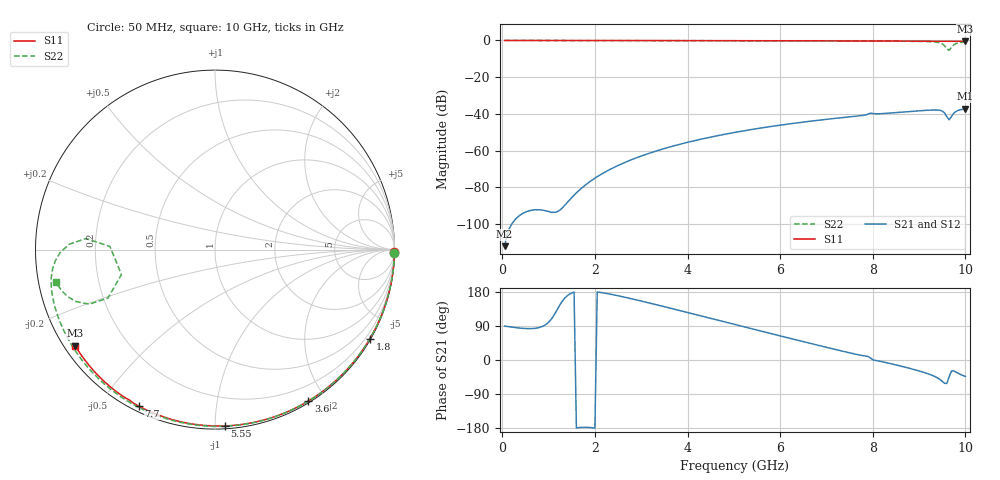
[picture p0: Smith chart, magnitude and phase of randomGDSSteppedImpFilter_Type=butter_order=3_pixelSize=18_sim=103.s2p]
! freq	dB(S11)	phase(S11)	dB(S12)	phase(S12)
!  dB(S21)	phase(S21)	dB(S22)	phase(S22)
!S-par simulation data
#  GHz  S  DB  R 50
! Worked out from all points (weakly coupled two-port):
!   200 points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, 50 MHz to 10 GHz, reference 50 ohm
!   highest |S21| = -37.21 dB at 10 GHz (marker M1); lowest = -112.0 dB at 50 MHz (marker M2)
!   lowest |S11| = -0.5 dB at 10 GHz (marker M3), VSWR 35.48, Z = 1.54 - j15.5 ohm
!   |S11| at or under -10 dB: nowhere
!   |S22| runs from -5.4 to 0.0 dB; largest |S21 - S12| = 0
!   S11 on the Smith chart (normalised r, x): 50 MHz: open; 1.8 GHz: 0.03, -3.74; 3.6 GHz: 0.02, -1.79; 5.55 GHz: 0.02, -1.06; 7.7 GHz: 0.02, -0.63; 10 GHz: 0.03, -0.31
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0.05  -0.00 -0.8  -112.03 89.4  -112.03 89.4  -0.00 -1.0
1.75  -0.04 -29.1  -79.62 -177.6  -79.62 -177.6  -0.04 -35.4
1.8  -0.04 -29.9  -78.60 -177.6  -78.60 -177.6  -0.05 -36.4
2.5  -0.05 -41.2  -68.09 169.5  -68.09 169.5  -0.06 -50.0
3.4  -0.07 -55.3  -59.61 143.7  -59.61 143.7  -0.09 -66.9
3.6  -0.08 -58.4  -58.13 137.6  -58.13 137.6  -0.09 -70.5
5.05  -0.12 -79.8  -49.94 92.8  -49.94 92.8  -0.15 -96.0
5.55  -0.14 -86.9  -47.82 77.4  -47.82 77.4  -0.17 -104.5
6.7  -0.20 -102.7  -43.83 42.4  -43.83 42.4  -0.24 -123.4
7.7  -0.26 -115.9  -41.07 13.5  -41.07 13.5  -0.32 -139.7
7.95  -0.31 -119.2  -39.59 5.5  -39.59 5.5  -0.34 -143.8
8.35  -0.32 -124.3  -39.56 -8.5  -39.56 -8.5  -0.39 -150.7
9  -0.38 -132.7  -38.30 -28.9  -38.30 -28.9  -0.51 -163.2
9.35  -0.42 -137.2  -37.86 -44.1  -37.86 -44.1  -0.83 -173.6
9.45  -0.43 -138.4  -38.06 -51.4  -38.06 -51.4  -1.27 -178.8
9.55  -0.44 -139.7  -39.44 -61.5  -39.44 -61.5  -2.83 175.1
9.6  -0.44 -140.4  -41.56 -61.9  -41.56 -61.9  -4.65 178.3
9.65  -0.45 -141.0  -43.22 -43.7  -43.22 -43.7  -5.36 -165.1
9.7  -0.45 -141.7  -41.35 -29.0  -41.35 -29.0  -3.68 -155.7
9.75  -0.46 -142.3  -39.58 -28.9  -39.58 -28.9  -2.35 -156.5
9.85  -0.47 -143.6  -38.03 -35.4  -38.03 -35.4  -1.30 -162.2
10  -0.49 -145.5  -37.21 -43.4  -37.21 -43.4  -0.89 -168.4
